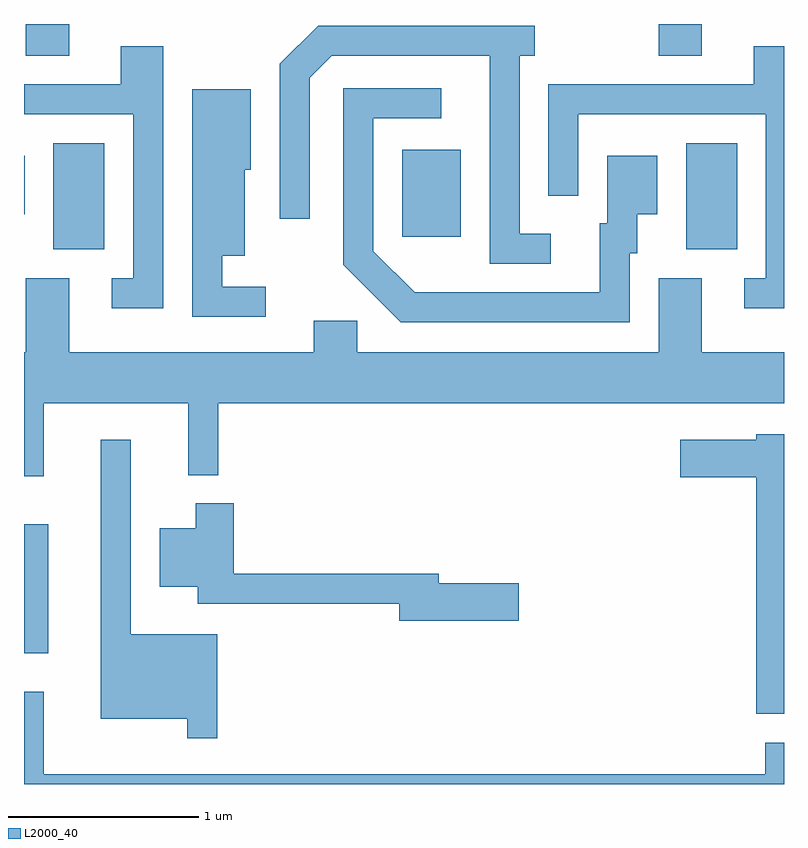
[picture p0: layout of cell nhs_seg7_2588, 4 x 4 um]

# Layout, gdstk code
import gdstk
lib = gdstk.Library(unit=1e-6, precision=1e-09)
def R(c, l, rs):  # rectangles x0, y0, x1, y1
    for r in rs: c.add(gdstk.rectangle(r[:2], r[2:], *l))
def P(c, l, *ps):  # polygons
    for p in ps: c.add(gdstk.Polygon(p, *l))
L2000_40 = (2000, 40)

nhs_seg7_2588 = lib.new_cell('nhs_seg7_2588')
R(nhs_seg7_2588, L2000_40, [(263.611,1772.941,263.739,1773.619), (263.766,1775.066,264.034,1775.624), (267.096,1775.066,267.364,1775.624), (265.601,1775.131,265.909,1775.589), (263.611,1775.251,263.614,1775.559), (263.621,1776.086,263.849,1776.252), (266.951,1776.086,267.179,1776.252)])
P(nhs_seg7_2588, L2000_40, [(266.383,1775.149),(266.219,1775.149),(266.219,1776.086),(266.298,1776.086),(266.298,1776.244),(265.159,1776.244),(264.956,1776.042),(264.956,1775.228),(265.114,1775.228),(265.114,1775.969),(265.232,1776.086),(266.061,1776.086),(266.061,1774.991),(266.383,1774.991)],
  [(264.344,1776.134),(264.121,1776.134),(264.121,1775.934),(263.611,1775.934),(263.611,1775.776),(264.186,1775.776),(264.186,1774.914),(264.073,1774.914),(264.073,1774.756),(264.344,1774.756)],
  [(267.611,1776.134),(267.451,1776.134),(267.451,1775.934),(266.371,1775.934),(266.371,1775.348),(266.529,1775.348),(266.529,1775.776),(267.516,1775.776),(267.516,1774.914),(267.403,1774.914),(267.403,1774.756),(267.611,1774.756)],
  [(266.799,1775.046),(266.839,1775.046),(266.839,1775.251),(266.944,1775.251),(266.944,1775.559),(266.681,1775.559),(266.681,1775.204),(266.641,1775.204),(266.641,1774.839),(265.667,1774.839),(265.449,1775.057),(265.449,1775.756),(265.808,1775.756),(265.808,1775.914),(265.291,1775.914),(265.291,1774.984),(265.594,1774.681),(266.799,1774.681)],
  [(264.883,1774.869),(264.654,1774.869),(264.654,1775.031),(264.774,1775.031),(264.774,1775.486),(264.804,1775.486),(264.804,1775.909),(264.496,1775.909),(264.496,1774.711),(264.883,1774.711)],
  [(263.714,1774.256),(264.476,1774.256),(264.476,1773.878),(264.634,1773.878),(264.634,1774.256),(267.611,1774.256),(267.611,1774.524),(267.179,1774.524),(267.179,1774.914),(266.951,1774.914),(266.951,1774.524),(265.364,1774.524),(265.364,1774.689),(265.136,1774.689),(265.136,1774.524),(263.849,1774.524),(263.849,1774.914),(263.621,1774.914),(263.621,1774.524),(263.611,1774.524),(263.611,1773.873),(263.714,1773.873)],
  [(267.611,1774.094),(267.466,1774.094),(267.466,1774.064),(267.066,1774.064),(267.066,1773.866),(267.466,1773.866),(267.466,1772.621),(267.611,1772.621)],
  [(264.629,1773.039),(264.174,1773.039),(264.174,1774.063),(264.016,1774.063),(264.016,1772.596),(264.471,1772.596),(264.471,1772.493),(264.629,1772.493)],
  [(266.214,1773.309),(265.794,1773.309),(265.794,1773.359),(264.714,1773.359),(264.714,1773.729),(264.516,1773.729),(264.516,1773.599),(264.326,1773.599),(264.326,1773.291),(264.526,1773.291),(264.526,1773.201),(265.586,1773.201),(265.586,1773.111),(266.214,1773.111)],
  [(267.611,1772.469),(267.511,1772.469),(267.511,1772.304),(263.714,1772.304),(263.714,1772.738),(263.611,1772.738),(263.611,1772.252),(267.611,1772.252)])

lib.write_gds('nhs_seg7_2588.gds')
